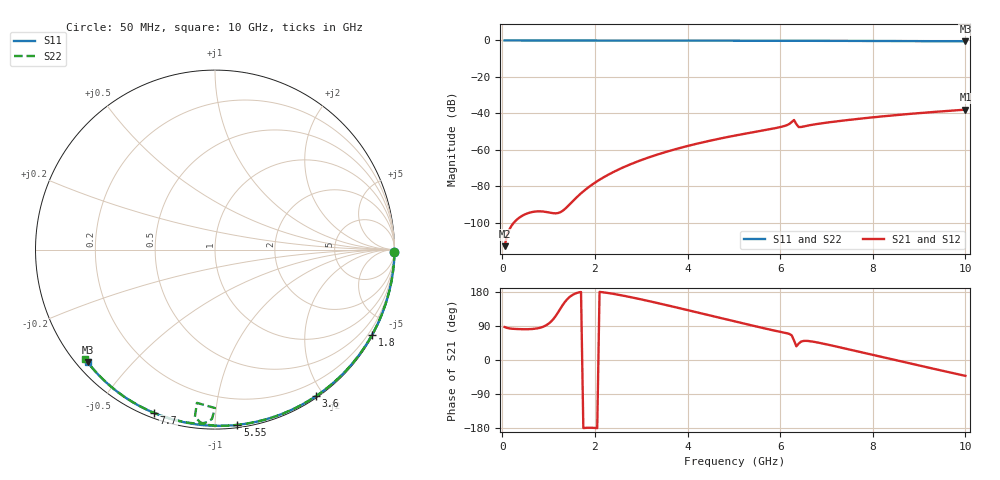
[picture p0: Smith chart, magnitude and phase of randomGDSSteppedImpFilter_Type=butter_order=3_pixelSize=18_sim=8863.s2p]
! freq	dB(S11)	phase(S11)	dB(S12)	phase(S12)
!  dB(S21)	phase(S21)	dB(S22)	phase(S22)
!S-par simulation data
#  GHz  S  DB  R 50
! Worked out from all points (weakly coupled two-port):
!   200 points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, 50 MHz to 10 GHz, reference 50 ohm
!   highest |S21| = -37.94 dB at 10 GHz (marker M1); lowest = -112.7 dB at 50 MHz (marker M2)
!   lowest |S11| = -0.5 dB at 10 GHz (marker M3), VSWR 37.04, Z = 1.54 - j18.9 ohm
!   |S11| at or under -10 dB: nowhere
!   |S22| runs from -1.3 to 0.0 dB; largest |S21 - S12| = 0
!   S11 on the Smith chart (normalised r, x): 50 MHz: open; 1.8 GHz: 0.03, -3.95; 3.6 GHz: 0.02, -1.90; 5.55 GHz: 0.02, -1.14; 7.7 GHz: 0.02, -0.69; 10 GHz: 0.03, -0.38
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0.05  -0.00 -0.8  -112.75 87.1  -112.75 87.1  -0.00 -0.8
0.9  -0.02 -14.3  -93.82 88.7  -93.82 88.7  -0.02 -14.5
1.75  -0.04 -27.6  -82.70 -179.5  -82.70 -179.5  -0.04 -27.9
1.8  -0.04 -28.4  -81.66 -179.0  -81.66 -179.0  -0.04 -28.7
1.9  -0.04 -29.9  -79.73 -178.7  -79.73 -178.7  -0.04 -30.2
2.25  -0.05 -35.3  -74.10 177.4  -74.10 177.4  -0.05 -35.6
2.65  -0.05 -41.4  -69.12 168.9  -69.12 168.9  -0.05 -41.8
3.4  -0.07 -52.5  -62.13 149.0  -62.13 149.0  -0.07 -53.0
3.6  -0.07 -55.5  -60.60 143.3  -60.60 143.3  -0.08 -56.0
4.3  -0.09 -65.5  -56.00 123.0  -56.00 123.0  -0.09 -66.2
5.05  -0.12 -76.0  -52.01 101.0  -52.01 101.0  -0.12 -76.8
5.55  -0.14 -82.8  -49.68 86.6  -49.68 86.6  -0.14 -83.9
6.15  -0.16 -90.7  -46.36 70.5  -46.36 70.5  -0.24 -93.6
6.25  -0.17 -92.0  -44.70 64.9  -44.70 64.9  -0.55 -96.9
6.3  -0.17 -92.7  -43.60 51.4  -43.60 51.4  -1.31 -96.7
6.35  -0.17 -93.3  -45.86 36.2  -45.86 36.2  -1.08 -90.0
6.4  -0.17 -94.0  -47.45 43.3  -47.45 43.3  -0.50 -91.0
6.5  -0.18 -95.3  -47.18 50.2  -47.18 50.2  -0.27 -93.9
6.7  -0.19 -97.8  -46.19 48.6  -46.19 48.6  -0.22 -97.5
7.7  -0.25 -110.5  -42.93 21.9  -42.93 21.9  -0.26 -111.0
8.35  -0.30 -118.5  -41.27 3.7  -41.27 3.7  -0.31 -119.2
10  -0.47 -138.5  -37.94 -41.9  -37.94 -41.9  -0.48 -139.7
